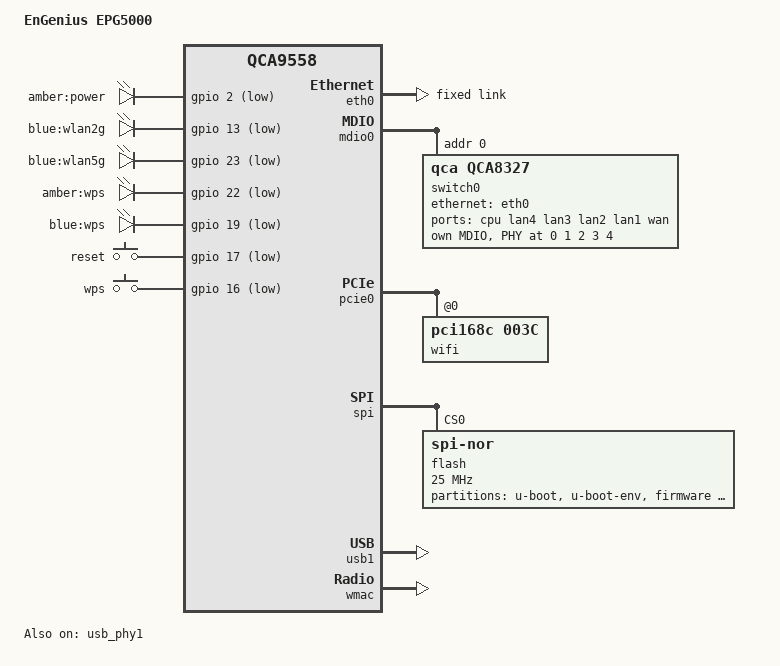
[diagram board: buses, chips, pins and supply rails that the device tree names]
// SPDX-License-Identifier: GPL-2.0-or-later OR MIT

#include "qca955x.dtsi"

#include <dt-bindings/gpio/gpio.h>
#include <dt-bindings/input/input.h>

/ {
	model = "EnGenius EPG5000";
	compatible = "engenius,epg5000", "qca,qca9558";

	aliases {
		led-boot = &led_power;
		led-failsafe = &led_power;
		led-running = &led_power;
		led-upgrade = &led_power;
	};

	leds {
		compatible = "gpio-leds";

		led_power: power {
			label = "amber:power";
			gpios = <&gpio 2 GPIO_ACTIVE_LOW>;
			default-state = "on";
		};

		wlan2g {
			label = "blue:wlan2g";
			gpios = <&gpio 13 GPIO_ACTIVE_LOW>;
			linux,default-trigger = "phy1tpt";
		};

		wlan5g {
			label = "blue:wlan5g";
			gpios = <&gpio 23 GPIO_ACTIVE_LOW>;
			linux,default-trigger = "phy0tpt";
		};

		wps_amber {
			label = "amber:wps";
			gpios = <&gpio 22 GPIO_ACTIVE_LOW>;
		};

		wps_blue {
			label = "blue:wps";
			gpios = <&gpio 19 GPIO_ACTIVE_LOW>;
		};
	};

	keys {
		compatible = "gpio-keys";

		reset {
			label = "reset";
			linux,code = <KEY_RESTART>;
			gpios = <&gpio 17 GPIO_ACTIVE_LOW>;
			debounce-interval = <60>;
		};

		wps {
			label = "wps";
			linux,code = <KEY_WPS_BUTTON>;
			gpios = <&gpio 16 GPIO_ACTIVE_LOW>;
			debounce-interval = <60>;
		};
	};
};

&eth0 {
	status = "okay";

	pll-data = <0xa6000000 0x00000101 0x00001616>;

	fixed-link {
		speed = <1000>;
		full-duplex;
	};
};

&mdio0 {
	status = "okay";

	switch0@10 {
		compatible = "qca,qca8327";
		#address-cells = <1>;
		#size-cells = <0>;

		reg = <0>;

		ports {
			#address-cells = <1>;
			#size-cells = <0>;

			port@0 {
				reg = <0>;
				label = "cpu";
				ethernet = <&eth0>;
				phy-mode = "rgmii-id";

				fixed-link {
					speed = <1000>;
					full-duplex;
				};
			};

			port@1 {
				reg = <1>;
				label = "lan4";
				phy-mode = "internal";
				phy-handle = <&phy_port1>;
			};

			port@2 {
				reg = <2>;
				label = "lan3";
				phy-mode = "internal";
				phy-handle = <&phy_port2>;
			};

			port@3 {
				reg = <3>;
				label = "lan2";
				phy-mode = "internal";
				phy-handle = <&phy_port3>;
			};

			port@4 {
				reg = <4>;
				label = "lan1";
				phy-mode = "internal";
				phy-handle = <&phy_port4>;
			};

			port@5 {
				reg = <5>;
				label = "wan";
				phy-mode = "internal";
				phy-handle = <&phy_port5>;
			};
		};

		mdio {
			#address-cells = <1>;
			#size-cells = <0>;

			phy_port1: phy@0 {
				reg = <0>;
			};

			phy_port2: phy@1 {
				reg = <1>;
			};

			phy_port3: phy@2 {
				reg = <2>;
			};

			phy_port4: phy@3 {
				reg = <3>;
			};

			phy_port5: phy@4 {
				reg = <4>;
			};
		};
	};
};

&pcie0 {
	status = "okay";

	wifi@0,0 {
		compatible = "pci168c,003c";
		reg = <0x0000 0 0 0 0>;
	};
};

&spi {
	status = "okay";

	flash@0 {
		compatible = "jedec,spi-nor";
		reg = <0>;
		spi-max-frequency = <25000000>;

		partitions {
			compatible = "fixed-partitions";
			#address-cells = <1>;
			#size-cells = <1>;

			partition@0 {
				label = "u-boot";
				reg = <0x000000 0x030000>;
				read-only;
			};

			partition@30000 {
				label = "u-boot-env";
				reg = <0x030000 0x010000>;
			};

			partition@40000 {
				compatible = "denx,uimage";
				label = "firmware";
				reg = <0x040000 0xe50000>;
			};

			partition@790000 {
				label = "manufacture";
				reg = <0xe90000 0x100000>;
				read-only;
			};

			partition@ed0000 {
				label = "backup";
				reg = <0xf90000 0x010000>;
				read-only;
			};

			partition@fe0000 {
				label = "storage";
				reg = <0xfa0000 0x050000>;
				read-only;
			};

			partition@ff0000 {
				label = "art";
				reg = <0xff0000 0x010000>;
				read-only;
			};
		};
	};
};

&usb_phy1 {
	status = "okay";
};

&usb1 {
	status = "okay";
};

&wmac {
	status = "okay";

	qca,no-eeprom;
};
